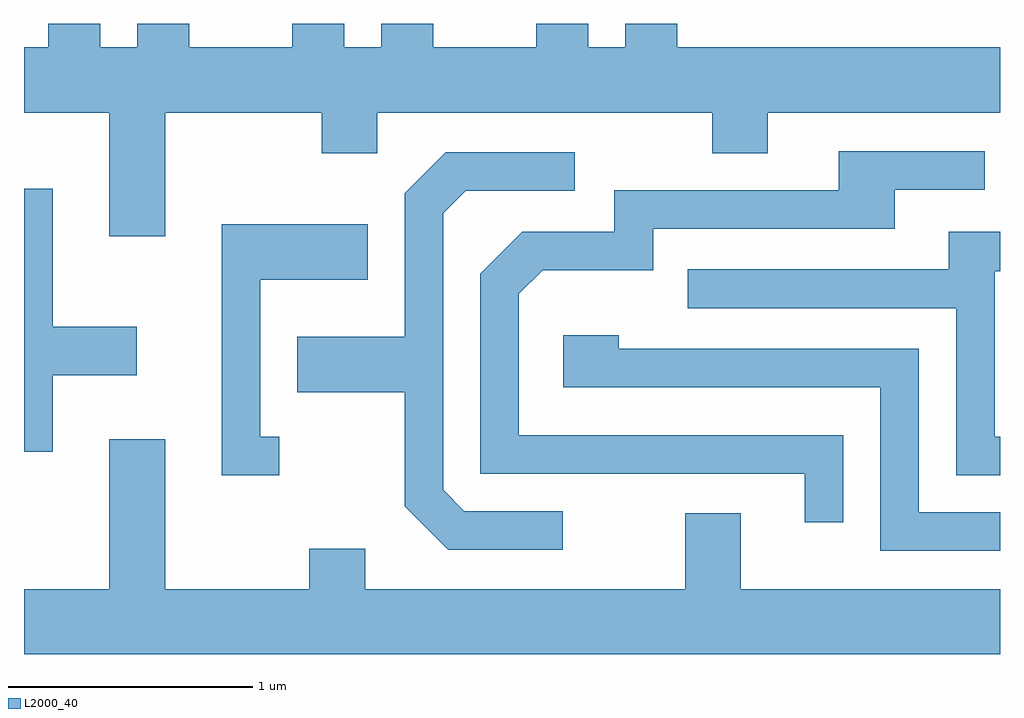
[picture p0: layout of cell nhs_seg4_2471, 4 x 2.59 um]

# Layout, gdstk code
import gdstk
lib = gdstk.Library(unit=1e-6, precision=1e-09)
def P(c, l, *ps):  # polygons
    for p in ps: c.add(gdstk.Polygon(p, *l))
L2000_40 = (2000, 40)

nhs_seg4_2471 = lib.new_cell('nhs_seg4_2471')
P(nhs_seg4_2471, L2000_40, [(258.189,1303.616),(258.831,1303.616),(258.831,1303.451),(259.059,1303.451),(259.059,1303.616),(260.431,1303.616),(260.431,1303.451),(260.659,1303.451),(260.659,1303.616),(261.611,1303.616),(261.611,1303.884),(260.289,1303.884),(260.289,1303.982),(260.076,1303.982),(260.076,1303.884),(259.924,1303.884),(259.924,1303.982),(259.711,1303.982),(259.711,1303.884),(259.289,1303.884),(259.289,1303.982),(259.076,1303.982),(259.076,1303.884),(258.924,1303.884),(258.924,1303.982),(258.711,1303.982),(258.711,1303.884),(258.289,1303.884),(258.289,1303.982),(258.076,1303.982),(258.076,1303.884),(257.924,1303.884),(257.924,1303.982),(257.711,1303.982),(257.711,1303.884),(257.611,1303.884),(257.611,1303.616),(257.961,1303.616),(257.961,1303.111),(258.189,1303.111)],
  [(260.969,1302.294),(259.639,1302.294),(259.639,1302.874),(259.736,1302.971),(260.189,1302.971),(260.189,1303.141),(261.179,1303.141),(261.179,1303.301),(261.548,1303.301),(261.548,1303.459),(260.951,1303.459),(260.951,1303.299),(260.031,1303.299),(260.031,1303.129),(259.654,1303.129),(259.481,1302.957),(259.481,1302.136),(260.811,1302.136),(260.811,1301.938),(260.969,1301.938)],
  [(259.818,1301.984),(259.416,1301.984),(259.329,1302.072),(259.329,1303.204),(259.421,1303.296),(259.868,1303.296),(259.868,1303.454),(259.339,1303.454),(259.171,1303.287),(259.171,1302.699),(258.731,1302.699),(258.731,1302.471),(259.171,1302.471),(259.171,1302.004),(259.349,1301.826),(259.818,1301.826)],
  [(257.729,1302.541),(258.074,1302.541),(258.074,1302.739),(257.729,1302.739),(257.729,1303.304),(257.611,1303.304),(257.611,1302.226),(257.729,1302.226)],
  [(258.658,1302.289),(258.579,1302.289),(258.579,1302.931),(259.019,1302.931),(259.019,1303.159),(258.421,1303.159),(258.421,1302.131),(258.658,1302.131)],
  [(261.611,1302.289),(261.589,1302.289),(261.589,1302.966),(261.611,1302.966),(261.611,1303.129),(261.401,1303.129),(261.401,1302.974),(260.332,1302.974),(260.332,1302.816),(261.431,1302.816),(261.431,1302.131),(261.611,1302.131)],
  [(261.611,1301.979),(261.279,1301.979),(261.279,1302.649),(260.049,1302.649),(260.049,1302.704),(259.821,1302.704),(259.821,1302.491),(261.121,1302.491),(261.121,1301.821),(261.611,1301.821)],
  [(261.611,1301.664),(260.549,1301.664),(260.549,1301.974),(260.321,1301.974),(260.321,1301.664),(259.009,1301.664),(259.009,1301.829),(258.781,1301.829),(258.781,1301.664),(258.189,1301.664),(258.189,1302.279),(257.961,1302.279),(257.961,1301.664),(257.611,1301.664),(257.611,1301.396),(261.611,1301.396)])

lib.write_gds('nhs_seg4_2471.gds')
